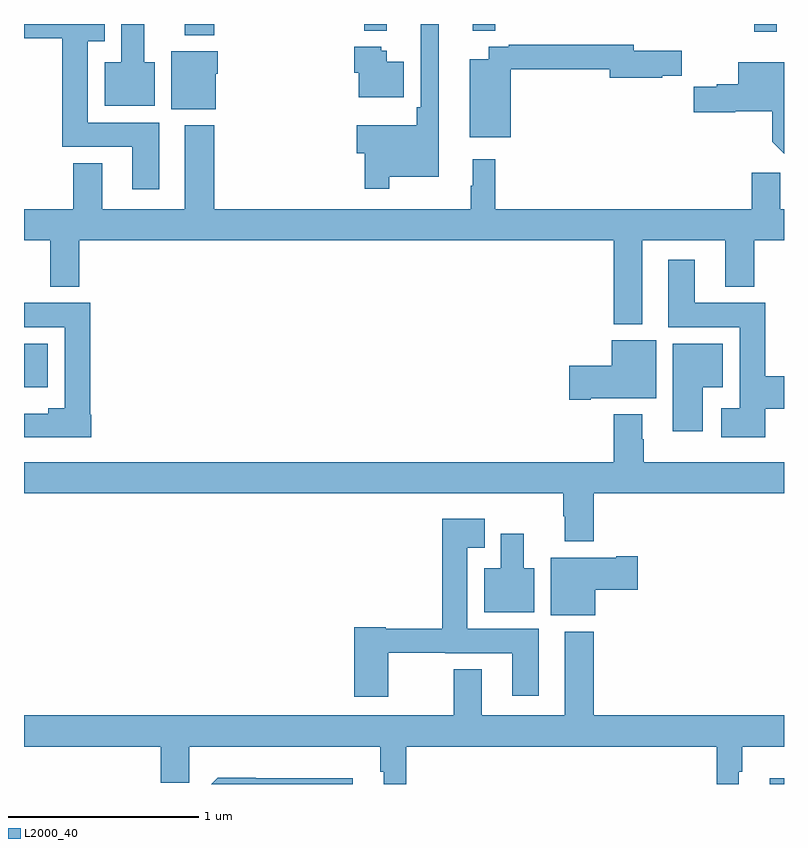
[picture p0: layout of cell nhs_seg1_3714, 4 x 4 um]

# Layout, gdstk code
import gdstk
lib = gdstk.Library(unit=1e-6, precision=1e-09)
def R(c, l, rs):  # rectangles x0, y0, x1, y1
    for r in rs: c.add(gdstk.rectangle(r[:2], r[2:], *l))
def P(c, l, *ps):  # polygons
    for p in ps: c.add(gdstk.Polygon(p, *l))
L2000_40 = (2000, 40)

nhs_seg1_3714 = lib.new_cell('nhs_seg1_3714')
R(nhs_seg1_3714, L2000_40, [(316.925,554.199,317,554.23), (313,556.286,313.126,556.516), (313.847,558.14,314,558.199), (316.843,558.159,316.961,558.199), (315.362,558.163,315.479,558.199), (314.791,558.164,314.909,558.199)])
P(nhs_seg1_3714, L2000_40, [(313.687,557.998),(313.633,557.998),(313.633,558.199),(313.511,558.199),(313.511,557.998),(313.424,557.998),(313.424,557.768),(313.687,557.768)],
  [(313.711,557.68),(313.336,557.68),(313.336,558.107),(313.426,558.107),(313.426,558.199),(313,558.199),(313,558.125),(313.202,558.125),(313.202,557.552),(313.571,557.552),(313.571,557.328),(313.711,557.328)],
  [(314.923,557.396),(315.184,557.396),(315.184,558.199),(315.087,558.199),(315.087,557.761),(315.067,557.761),(315.067,557.665),(314.75,557.665),(314.75,557.518),(314.794,557.518),(314.794,557.331),(314.923,557.331)],
  [(315.562,557.962),(316.082,557.962),(316.082,557.915),(316.358,557.915),(316.358,557.927),(316.463,557.927),(316.463,558.057),(316.21,558.057),(316.21,558.091),(315.55,558.091),(315.55,558.078),(315.446,558.078),(315.446,558.013),(315.347,558.013),(315.347,557.603),(315.562,557.603)],
  [(314.998,558.001),(314.908,558.001),(314.908,558.057),(314.88,558.057),(314.88,558.079),(314.738,558.079),(314.738,557.943),(314.762,557.943),(314.762,557.813),(314.998,557.813)],
  [(314.008,557.937),(314.02,557.937),(314.02,558.055),(313.775,558.055),(313.775,557.75),(314.008,557.75)],
  [(317,557.998),(316.76,557.998),(316.76,557.882),(316.647,557.882),(316.647,557.869),(316.525,557.869),(316.525,557.735),(316.743,557.735),(316.743,557.74),(316.937,557.74),(316.937,557.578),(317,557.515)],
  [(316.255,557.06),(316.691,557.06),(316.691,556.817),(316.844,556.817),(316.844,557.06),(317,557.06),(317,557.224),(316.979,557.224),(316.979,557.415),(316.829,557.415),(316.829,557.224),(315.479,557.224),(315.479,557.488),(315.362,557.488),(315.362,557.348),(315.351,557.348),(315.351,557.224),(314,557.224),(314,557.665),(313.847,557.665),(313.847,557.224),(313.411,557.224),(313.411,557.467),(313.259,557.467),(313.259,557.224),(313,557.224),(313,557.06),(313.139,557.06),(313.139,556.817),(313.292,556.817),(313.292,557.06),(316.103,557.06),(316.103,556.619),(316.255,556.619)],
  [(316.901,556.175),(317,556.175),(317,556.346),(316.901,556.346),(316.901,556.732),(316.531,556.732),(316.531,556.957),(316.391,556.957),(316.391,556.604),(316.766,556.604),(316.766,556.177),(316.671,556.177),(316.671,556.025),(316.901,556.025)],
  [(313.354,556.143),(313.349,556.143),(313.349,556.732),(313,556.732),(313,556.604),(313.214,556.604),(313.214,556.177),(313.127,556.177),(313.127,556.147),(313,556.147),(313,556.025),(313.354,556.025)],
  [(315.982,556.229),(316.327,556.229),(316.327,556.534),(316.094,556.534),(316.094,556.4),(315.87,556.4),(315.87,556.222),(315.982,556.222)],
  [(316.573,556.286),(316.678,556.286),(316.678,556.516),(316.415,556.516),(316.415,556.056),(316.573,556.056)],
  [(315.998,555.728),(317,555.728),(317,555.892),(316.263,555.892),(316.263,556.013),(316.255,556.013),(316.255,556.144),(316.103,556.144),(316.103,555.892),(313,555.892),(313,555.728),(315.838,555.728),(315.838,555.608),(315.845,555.608),(315.845,555.476),(315.998,555.476)],
  [(314.916,554.889),(315.216,554.889),(315.216,554.888),(315.569,554.888),(315.569,554.664),(315.709,554.664),(315.709,555.016),(315.334,555.016),(315.334,555.443),(315.424,555.443),(315.424,555.595),(315.2,555.595),(315.2,555.017),(314.904,555.017),(314.904,555.025),(314.738,555.025),(314.738,554.658),(314.916,554.658)],
  [(315.685,555.334),(315.631,555.334),(315.631,555.517),(315.509,555.517),(315.509,555.334),(315.422,555.334),(315.422,555.104),(315.685,555.104)],
  [(316.006,555.221),(316.231,555.221),(316.231,555.399),(316.118,555.399),(316.118,555.391),(315.773,555.391),(315.773,555.086),(316.006,555.086)],
  [(315.011,554.396),(316.645,554.396),(316.645,554.199),(316.762,554.199),(316.762,554.264),(316.781,554.264),(316.781,554.396),(317,554.396),(317,554.56),(315.998,554.56),(315.998,555.001),(315.845,555.001),(315.845,554.56),(315.409,554.56),(315.409,554.803),(315.262,554.803),(315.262,554.56),(313,554.56),(313,554.396),(313.721,554.396),(313.721,554.205),(313.871,554.205),(313.871,554.396),(314.875,554.396),(314.875,554.264),(314.894,554.264),(314.894,554.199),(315.011,554.199)],
  [(314.731,554.23),(314.219,554.23),(314.219,554.233),(314.02,554.233),(313.986,554.199),(314.731,554.199)])

lib.write_gds('nhs_seg1_3714.gds')
